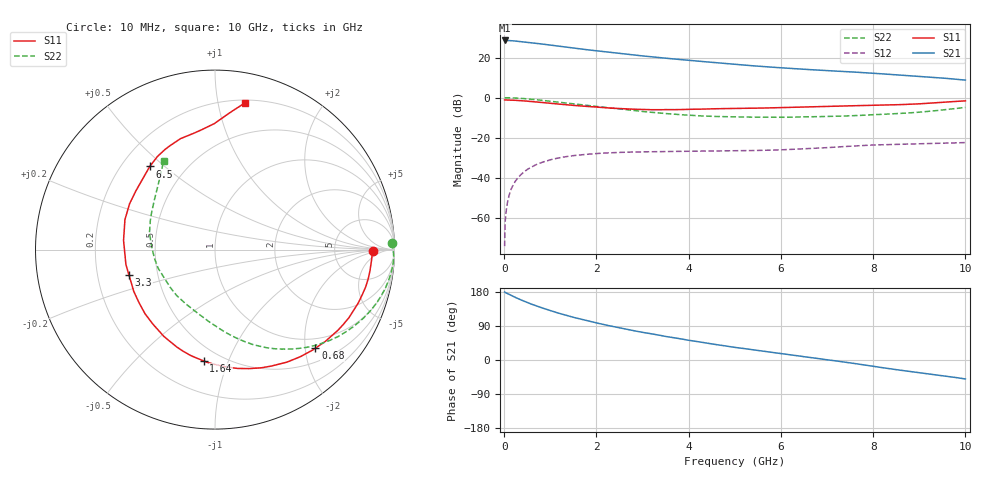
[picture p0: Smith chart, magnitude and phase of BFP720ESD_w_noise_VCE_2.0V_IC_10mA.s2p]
! Infineon Technologies  Discrete & RF Semiconductors
! BFP720ESD
! VCE =  2.0 V,  IC =  10 mA
! Common Emitter S-Parameters:  Jan 2016
# GHz  S  MA  R  50
!  f  S11  S21  S12  S22
! GHz  MAG  ANG  MAG  ANG  MAG  ANG  MAG  ANG
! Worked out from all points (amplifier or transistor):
!   233 points, 10 MHz to 10 GHz, reference 50 ohm
!   highest |S21| = 28.5 dB at 10 MHz (marker M1)
!   |S21| within 3 dB of that: start of sweep to 1.247 GHz
!   unconditionally stable (mu >= 1): start of sweep to 11.86 MHz; 5.128 GHz to 9.009 GHz
!   at 200 MHz: K = 0.08, MSG = 35.8 dB, |S12| = -43.3 dB
!   at 1.74 GHz: K = 0.39, MSG = 26.2 dB, |S12| = -28.3 dB
!   at 10 GHz: K = 0.72, MSG = 15.6 dB, |S12| = -22.4 dB
!   lowest NFmin = 0.67 dB at 450 MHz
!   S11 on the Smith chart (normalised r, x): 10 MHz: 15, -1; 680 MHz: 0.78, -2.21; 1.64 GHz: 0.40, -0.82; 3.3 GHz: 0.34, -0.13; 6.5 GHz: 0.32, +0.45; 10 GHz: 0.23, +1.20
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0.01  0.8788 -0.5  26.6 179.5  0.0002 -4.4  0.9851 2.1
0.025  0.8765 -1.6  26.42 178.1  0.0009 86.3  0.9937 -0.7
0.07  0.8733 -4.8  26.37 175.4  0.0024 88.1  0.9958 -2.9
0.195  0.8652 -13.5  26.05 168.0  0.0066 81.6  0.9868 -8.6
0.3  0.8516 -20.5  25.41 162.0  0.0101 77.9  0.972 -13.0
0.5  0.8191 -33.3  24 151.8  0.0162 70.2  0.9337 -21.0
0.68  0.7841 -44.5  22.71 143.6  0.0211 63.9  0.8928 -27.6
0.9  0.7442 -57.4  21.16 134.3  0.0262 57.0  0.8409 -35.1
1.1  0.7073 -68.6  19.79 126.5  0.0302 51.5  0.7915 -41.3
1.64  0.6237 -95.8  16.49 108.2  0.0374 39.3  0.671 -55.7
1.68  0.6184 -97.7  16.27 107.0  0.0379 38.6  0.6634 -56.6
2  0.5822 -111.7  14.67 97.9  0.0406 33.3  0.6056 -63.7
2.42  0.5408 -129.6  12.94 86.8  0.0431 27.3  0.5343 -72.7
2.8  0.5162 -145.3  11.59 77.5  0.0442 23.2  0.4774 -80.8
3.3  0.4998 -163.4  10.11 66.9  0.0451 19.3  0.4208 -90.6
3.4  0.5006 -167.0  9.858 64.6  0.0452 18.7  0.4113 -92.7
4  0.5121 174.2  8.543 52.1  0.0463 15.8  0.3655 -106.0
5.1  0.5408 150.2  6.615 31.8  0.0477 12.9  0.3312 -131.7
6.5  0.5888 128.1  5.099 8.7  0.0531 12.9  0.3331 -161.6
6.8  0.6006 124.2  4.857 4.0  0.0554 12.5  0.3363 -167.5
8.4  0.6598 100.0  3.768 -23.7  0.0683 3.5  0.3946 156.0
10  0.8325 78.6  2.739 -50.0  0.0761 -6.6  0.5708 120.1
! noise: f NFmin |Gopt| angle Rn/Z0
0.45  0.67  0.27  4  0.12
0.9  0.71  0.26  10  0.13
1.9  0.73  0.22  23  0.12
2.4  0.74  0.2  27  0.13
5.5  0.92  0.03  -166  0.1
10  1.37  0.51  -92  0.38
